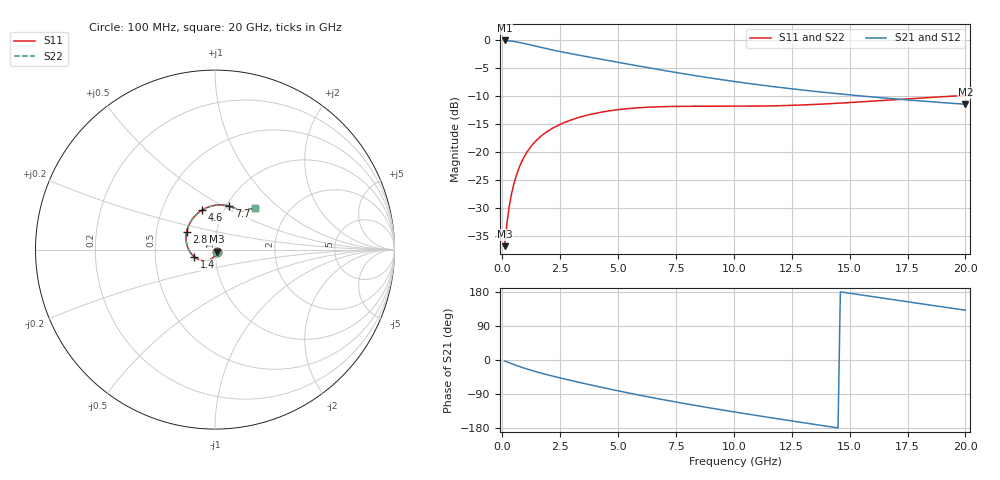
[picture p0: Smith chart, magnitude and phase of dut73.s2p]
! Touchstone file exported from HFSS 2023.1.0
!  File:  D:/Users/fzz/RDL_TSV/temp_RDL_TSV_73_1778747003.aedt
!  Generated:  4:33:51 %x4E0B%x5348  5%x6708 14, 2026
!  Design:  RDL_TSV
!  Project:  temp_RDL_TSV_73_1778747003
!  Setup:  Setup1
!  Solution:  Sweep
! Variables:
!  dtsv = 17.91um
!  hbump = 3um
!  htsv = 98.99um
!  ldown = 203.41um
!  lrdl = 559.05um
!  p = 40
!  p1 = 58.42um
!  rhole = 10um
!  subl = 2846.43um
!  t = 450um
!  tdown = 4.12um
!  trdl = 4.7um
!  viad = 10um
!  wdown = 14.02um
!  wrdl = 28.23um
!  xbump = 18um
# GHz S MA R 50.000000
! Terminal data exported
! Port[1] = TM1_1_T1
! Port[2] = TM1_4_T1
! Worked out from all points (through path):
!   200 points, 100 MHz to 20 GHz, reference 50 ohm
!   highest |S21| = -0.10 dB at 100 MHz (marker M1); lowest = -11.5 dB at 20 GHz (marker M2)
!   group delay of S21, straight-line fit = 29.6 ps
!   lowest |S11| = -36.9 dB at 100 MHz (marker M3), VSWR 1.03, Z = 50.9 - j1.11 ohm
!   |S11| at or under -10 dB: start of sweep to 19.64 GHz
!   |S22| runs from -36.9 to -9.9 dB; largest |S21 - S12| = 2.1e-14
!   S11 on the Smith chart (normalised r, x): 100 MHz: 1.02, -0.02; 1.4 GHz: 0.79, -0.06; 2.8 GHz: 0.71, +0.15; 4.6 GHz: 0.79, +0.37; 7.7 GHz: 1.03, +0.53; 20 GHz: 1.37, +0.70
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0.1  0.01437 -49.3  0.9886 -2.5  0.9886 -2.5  0.01437 -49.3
! Gamma 0 0 0 0
! Port Impedance 50 0 50 0
0.2  0.023 -75.2  0.9854 -4.9  0.9854 -4.9  0.023 -75.2
0.3  0.03254 -89.4  0.9808 -7.3  0.9808 -7.3  0.03254 -89.4
0.4  0.04219 -99.6  0.975 -9.6  0.975 -9.6  0.04219 -99.6
0.6  0.06094 -115.6  0.9603 -14.2  0.9603 -14.2  0.06094 -115.6
0.7  0.06988 -122.4  0.9518 -16.3  0.9518 -16.3  0.06988 -122.4
0.9  0.08667 -134.8  0.9329 -20.5  0.9329 -20.5  0.08666 -134.8
1.1  0.1019 -145.9  0.9129 -24.4  0.9129 -24.4  0.1019 -145.9
1.4  0.1221 -160.9  0.8825 -29.9  0.8825 -29.9  0.1221 -160.9
2  0.1546 173.9  0.8267 -39.8  0.8267 -39.8  0.1545 173.9
2.8  0.1868 147.6  0.7646 -51.7  0.7646 -51.7  0.1867 147.7
3.5  0.2082 129.5  0.718 -61.6  0.718 -61.6  0.208 129.6
4.6  0.2321 107.6  0.6526 -76.3  0.6526 -76.3  0.2317 107.6
5.7  0.2461 91.3  0.5938 -90.1  0.5938 -90.1  0.2457 91.3
6.8  0.2529 79.2  0.5414 -103.0  0.5414 -103.0  0.2524 79.2
7.7  0.2549 71.8  0.5035 -113.1  0.5035 -113.1  0.2544 71.8
8.9  0.2553 64.6  0.4597 -125.8  0.4597 -125.8  0.2547 64.6
10.1  0.2553 59.8  0.4227 -137.8  0.4227 -137.8  0.2547 59.9
11.7  0.2575 55.9  0.3826 -153.3  0.3826 -153.3  0.257 56.0
13.4  0.2646 53.6  0.3486 -169.2  0.3486 -169.2  0.2641 53.7
16.7  0.2901 50.3  0.3003 160.9  0.3003 160.9  0.2897 50.3
20  0.3191 45.9  0.2662 131.4  0.2662 131.4  0.3189 45.9
